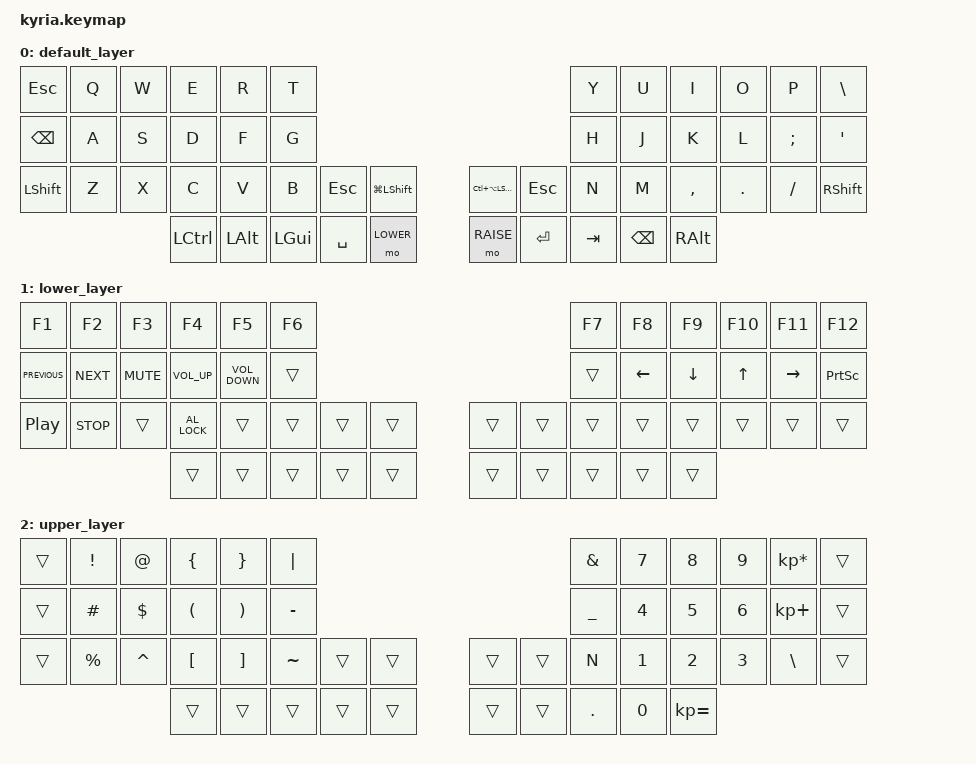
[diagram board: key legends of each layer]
#include <behaviors.dtsi>
#include <dt-bindings/zmk/keys.h>

#define DEFAULT 0
#define LOWER   1
#define RAISE   2

#define MS LG(LEFT_SHIFT)
#define CAS LC(LA(LEFT_SHIFT))

/ {
    keymap {
        compatible = "zmk,keymap";

		default_layer {
			bindings = <
                    &kp ESC       &kp Q &kp W     &kp E    &kp R     &kp T                                                       &kp Y    &kp U    &kp I     &kp O    &kp P    &kp BSLH
                    &kp BACKSPACE &kp A &kp S     &kp D    &kp F     &kp G                                                       &kp H    &kp J    &kp K     &kp L    &kp SEMI &kp SQT
                    &kp LSHFT     &kp Z &kp X     &kp C    &kp V     &kp B     &kp ESC    &kp MS              &kp CAS   &kp ESC  &kp N    &kp M    &kp COMMA &kp DOT  &kp FSLH &kp RSHFT
                                                  &kp LCTRL &kp LALT &kp LGUI  &kp SPACE  &mo LOWER           &mo RAISE &kp RET  &kp TAB  &kp BSPC &kp RALT
			>;
		};

        lower_layer {
            bindings = <
                &kp F1                 &kp F2      &kp F3     &kp F4          &kp F5            &kp F6                              &kp F7 &kp F8   &kp F9   &kp F10 &kp F11   &kp F12
                &kp C_PREVIOUS         &kp C_NEXT  &kp C_MUTE &kp C_VOLUME_UP &kp C_VOLUME_DOWN &trans                              &trans &kp LEFT &kp DOWN &kp UP  &kp RIGHT &kp PSCRN
                &kp C_PLAY_PAUSE       &kp C_STOP  &trans     &kp C_AL_LOCK   &trans            &trans &trans &trans  &trans &trans &trans &trans   &trans   &trans  &trans    &trans
                                                              &trans          &trans            &trans &trans &trans  &trans &trans &trans &trans   &trans
			>;
		};

        upper_layer {
			bindings = <
                &trans &kp EXCLAMATION &kp AT     &kp LEFT_BRACE   &kp RIGHT_BRACE   &kp PIPE                                    &kp AMPS       &kp N7  &kp N8       &kp N9 &kp KP_MULTIPLY &trans
                &trans &kp HASH        &kp DOLLAR &kp LPAR         &kp RPAR          &kp MINUS                                   &kp UNDERSCORE &kp N4  &kp N5       &kp N6 &kp KP_PLUS     &trans
                &trans &kp PERCENT     &kp CARET  &kp LEFT_BRACKET &kp RIGHT_BRACKET &kp TILDE &trans &trans      &trans &trans  &kp N          &kp N1  &kp N2       &kp N3 &kp BSLH        &trans
                                                  &trans           &trans            &trans    &trans  &trans     &trans &trans  &kp DOT        &kp N0  &kp KP_EQUAL
			>;
		};
	};
};
